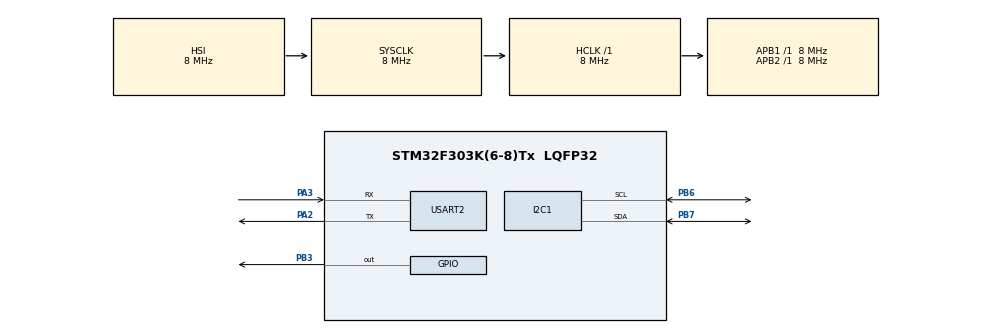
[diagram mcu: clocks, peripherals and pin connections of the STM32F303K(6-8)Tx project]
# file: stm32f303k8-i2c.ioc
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I2C1.OwnAddress=0x60
Mcu.Family=STM32F3
Mcu.Name=STM32F303K(6-8)Tx
Mcu.Package=LQFP32
NVIC.I2C1_ER_IRQn=true\:0\:0\:false\:false\:true\:true\:true\:true
NVIC.I2C1_EV_IRQn=true\:0\:0\:false\:false\:true\:true\:true\:true
NVIC.PriorityGroup=NVIC_PRIORITYGROUP_4
PA2.Mode=Asynchronous
PA2.Signal=USART2_TX
PA3.Mode=Asynchronous
PA3.Signal=USART2_RX
PB3.Signal=GPIO_Output
PB6.GPIO_Pu=GPIO_PULLUP
PB6.Mode=I2C
PB6.Signal=I2C1_SCL
PB7.GPIO_Pu=GPIO_PULLUP
PB7.Mode=I2C
PB7.Signal=I2C1_SDA
ProjectManager.HeapSize=0x200
ProjectManager.StackSize=0x400
ProjectManager.TargetToolchain=STM32CubeIDE
RCC.AHBFreq_Value=8000000
RCC.APB1Freq_Value=8000000
RCC.APB2Freq_Value=8000000
RCC.CortexFreq_Value=8000000
RCC.HSE_VALUE=8000000
RCC.HSI_VALUE=8000000
RCC.SYSCLKFreq_VALUE=8000000
USART2.VirtualMode-Asynchronous=VM_ASYNC
board=custom

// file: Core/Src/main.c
/* USER CODE BEGIN Header */
/**
  ******************************************************************************
  * @file           : main.c
  * @brief          : Main program body
  ******************************************************************************
  * @attention
  *
  * Copyright (c) 2026 STMicroelectronics.
  * All rights reserved.
  *
  * This software is licensed under terms that can be found in the LICENSE file
  * in the root directory of this software component.
  * If no LICENSE file comes with this software, it is provided AS-IS.
  *
  ******************************************************************************
  */
/* USER CODE END Header */
#include "main.h"

/* USER CODE BEGIN Includes */
#include <string.h>
#include "Program.h"
/* USER CODE END Includes */

I2C_HandleTypeDef hi2c1;

UART_HandleTypeDef huart2;

/* USER CODE BEGIN PV */
/* Global Program instance for I2C callbacks */
Program* g_program = NULL;
/* USER CODE END PV */

void SystemClock_Config(void);
static void MX_GPIO_Init(void);
static void MX_I2C1_Init(void);
static void MX_USART2_UART_Init(void);

/* USER CODE BEGIN 0 */

/**
 * @brief I2C Slave Address Match callback - called when master addresses this device
 */
void HAL_I2C_AddrCallback(I2C_HandleTypeDef *hi2c, uint8_t TransferDirection, uint16_t AddrMatchCode)
{
  if (TransferDirection == I2C_DIRECTION_RECEIVE) {
    /* Master is sending data to us; enable reception with persistent buffer */
    HAL_StatusTypeDef rx_status = HAL_I2C_Slave_Receive_IT(hi2c, g_program->GetI2CRxBuffer(), Program::I2C_RX_BUF_SIZE);

    char msg[] = "Receiving Enabled\r\n";
    HAL_UART_Transmit(&huart2, (uint8_t*)msg, strlen(msg), HAL_MAX_DELAY);

  }
  else if (TransferDirection == I2C_DIRECTION_TRANSMIT) {
    char msg[] = "Master requesting data (not implemented)\r\n";
    HAL_UART_Transmit(&huart2, (uint8_t*)msg, strlen(msg), HAL_MAX_DELAY);
  }
}

/**
 * @brief I2C Slave Receive complete callback
 */
void HAL_I2C_SlaveRxCpltCallback(I2C_HandleTypeDef *hi2c)
{
  if (g_program != NULL) {
    /* Call Program's handler with received data */
    g_program->OnI2CReceived(hi2c->pBuffPtr, hi2c->XferSize);
  }
}

/* USER CODE END 0 */

int main(void)
{

  /* MCU Configuration--------------------------------------------------------*/

  /* Reset of all peripherals, Initializes the Flash interface and the Systick. */
  HAL_Init();

  /* Configure the system clock */
  SystemClock_Config();

  /* Initialize all configured peripherals */
  MX_GPIO_Init();
  MX_I2C1_Init();
  MX_USART2_UART_Init();
  /* USER CODE BEGIN 2 */
  /* Create Program instance and store in global for I2C callbacks */
  Program program(&huart2, &hi2c1);
  g_program = &program;
  /* USER CODE END 2 */

  /* Infinite loop */
  while (1)
  {

    /* USER CODE BEGIN 3 */
	char msg[] = "Running program\r\n";
	HAL_UART_Transmit(&huart2, (uint8_t*)msg, strlen(msg), HAL_MAX_DELAY);

	program.Run();
  }
  /* USER CODE END 3 */
}

void SystemClock_Config(void)
{
  RCC_OscInitTypeDef RCC_OscInitStruct = {0};
  RCC_ClkInitTypeDef RCC_ClkInitStruct = {0};
  RCC_PeriphCLKInitTypeDef PeriphClkInit = {0};

  /** Initializes the RCC Oscillators according to the specified parameters
  * in the RCC_OscInitTypeDef structure.
  */
  RCC_OscInitStruct.OscillatorType = RCC_OSCILLATORTYPE_HSI;
  RCC_OscInitStruct.HSIState = RCC_HSI_ON;
  RCC_OscInitStruct.HSICalibrationValue = RCC_HSICALIBRATION_DEFAULT;
  RCC_OscInitStruct.PLL.PLLState = RCC_PLL_NONE;
  if (HAL_RCC_OscConfig(&RCC_OscInitStruct) != HAL_OK)
  {
    Error_Handler();
  }

  /** Initializes the CPU, AHB and APB buses clocks
  */
  RCC_ClkInitStruct.ClockType = RCC_CLOCKTYPE_HCLK|RCC_CLOCKTYPE_SYSCLK
                              |RCC_CLOCKTYPE_PCLK1|RCC_CLOCKTYPE_PCLK2;
  RCC_ClkInitStruct.SYSCLKSource = RCC_SYSCLKSOURCE_HSI;
  RCC_ClkInitStruct.AHBCLKDivider = RCC_SYSCLK_DIV1;
  RCC_ClkInitStruct.APB1CLKDivider = RCC_HCLK_DIV1;
  RCC_ClkInitStruct.APB2CLKDivider = RCC_HCLK_DIV1;

  if (HAL_RCC_ClockConfig(&RCC_ClkInitStruct, FLASH_LATENCY_0) != HAL_OK)
  {
    Error_Handler();
  }
  PeriphClkInit.PeriphClockSelection = RCC_PERIPHCLK_I2C1;
  PeriphClkInit.I2c1ClockSelection = RCC_I2C1CLKSOURCE_HSI;
  if (HAL_RCCEx_PeriphCLKConfig(&PeriphClkInit) != HAL_OK)
  {
    Error_Handler();
  }
}

static void MX_I2C1_Init(void)
{

  hi2c1.Instance = I2C1;
  hi2c1.Init.Timing = 0x2000090E;
  hi2c1.Init.OwnAddress1 = 192;
  hi2c1.Init.AddressingMode = I2C_ADDRESSINGMODE_7BIT;
  hi2c1.Init.DualAddressMode = I2C_DUALADDRESS_DISABLE;
  hi2c1.Init.OwnAddress2 = 0;
  hi2c1.Init.OwnAddress2Masks = I2C_OA2_NOMASK;
  hi2c1.Init.GeneralCallMode = I2C_GENERALCALL_DISABLE;
  hi2c1.Init.NoStretchMode = I2C_NOSTRETCH_DISABLE;
  if (HAL_I2C_Init(&hi2c1) != HAL_OK)
  {
    Error_Handler();
  }

  /** Configure Analogue filter
  */
  if (HAL_I2CEx_ConfigAnalogFilter(&hi2c1, I2C_ANALOGFILTER_ENABLE) != HAL_OK)
  {
    Error_Handler();
  }

  /** Configure Digital filter
  */
  if (HAL_I2CEx_ConfigDigitalFilter(&hi2c1, 0) != HAL_OK)
  {
    Error_Handler();
  }
  /* USER CODE BEGIN I2C1_Init 2 */
  /* Enable I2C interrupt-driven slave mode */
  HAL_I2C_EnableListen_IT(&hi2c1);
  /* USER CODE END I2C1_Init 2 */

}

static void MX_USART2_UART_Init(void)
{

  huart2.Instance = USART2;
  huart2.Init.BaudRate = 38400;
  huart2.Init.WordLength = UART_WORDLENGTH_8B;
  huart2.Init.StopBits = UART_STOPBITS_1;
  huart2.Init.Parity = UART_PARITY_NONE;
  huart2.Init.Mode = UART_MODE_TX_RX;
  huart2.Init.HwFlowCtl = UART_HWCONTROL_NONE;
  huart2.Init.OverSampling = UART_OVERSAMPLING_16;
  huart2.Init.OneBitSampling = UART_ONE_BIT_SAMPLE_DISABLE;
  huart2.AdvancedInit.AdvFeatureInit = UART_ADVFEATURE_NO_INIT;
  if (HAL_UART_Init(&huart2) != HAL_OK)
  {
    Error_Handler();
  }

}

static void MX_GPIO_Init(void)
{
  GPIO_InitTypeDef GPIO_InitStruct = {0};

  /* GPIO Ports Clock Enable */
  __HAL_RCC_GPIOA_CLK_ENABLE();
  __HAL_RCC_GPIOB_CLK_ENABLE();

  /*Configure GPIO pin Output Level */
  HAL_GPIO_WritePin(GPIOB, GPIO_PIN_3, GPIO_PIN_RESET);

  /*Configure GPIO pin : PB3 */
  GPIO_InitStruct.Pin = GPIO_PIN_3;
  GPIO_InitStruct.Mode = GPIO_MODE_OUTPUT_PP;
  GPIO_InitStruct.Pull = GPIO_NOPULL;
  GPIO_InitStruct.Speed = GPIO_SPEED_FREQ_LOW;
  HAL_GPIO_Init(GPIOB, &GPIO_InitStruct);

}

void Error_Handler(void)
{
  __disable_irq();
  while (1)
  {
  }
}
